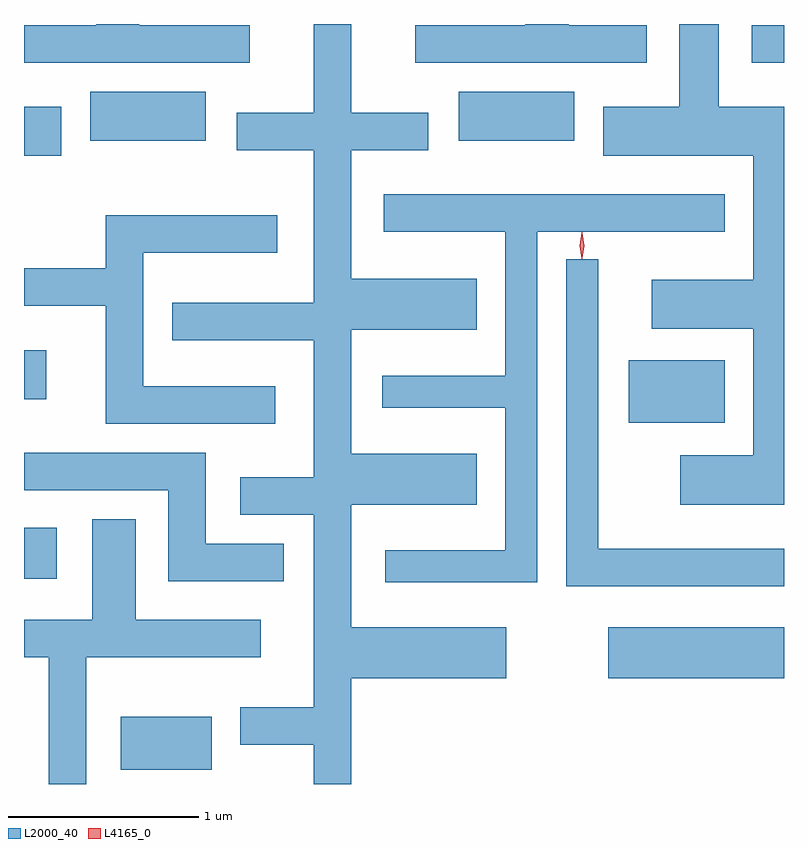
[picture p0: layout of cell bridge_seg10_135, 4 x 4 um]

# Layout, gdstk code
import gdstk
lib = gdstk.Library(unit=1e-6, precision=1e-09)
def R(c, l, rs):  # rectangles x0, y0, x1, y1
    for r in rs: c.add(gdstk.rectangle(r[:2], r[2:], *l))
def P(c, l, *ps):  # polygons
    for p in ps: c.add(gdstk.Polygon(p, *l))
L2000_40 = (2000, 40)
L4165_0 = (4165, 0)

bridge_seg10_135 = lib.new_cell('bridge_seg10_135')
R(bridge_seg10_135, L2000_40, [(1671.016,2139.486,1671.494,2139.764), (1673.581,2139.966,1674.507,2140.234), (1670.507,2140.491,1670.679,2140.759), (1673.691,2141.311,1674.194,2141.639), (1670.507,2141.436,1670.624,2141.694), (1670.507,2142.716,1670.704,2142.974), (1670.856,2142.796,1671.464,2143.054), (1672.796,2142.796,1673.404,2143.054), (1674.336,2143.206,1674.507,2143.404)])
P(bridge_seg10_135, L2000_40, [(1674.507,2142.974),(1674.164,2142.974),(1674.164,2143.41),(1673.956,2143.41),(1673.956,2142.974),(1673.556,2142.974),(1673.556,2142.716),(1674.346,2142.716),(1674.346,2142.064),(1673.811,2142.064),(1673.811,2141.806),(1674.346,2141.806),(1674.346,2141.139),(1673.961,2141.139),(1673.961,2140.881),(1674.507,2140.881)],
  [(1673.784,2143.404),(1673.374,2143.404),(1673.374,2143.41),(1673.146,2143.41),(1673.146,2143.404),(1672.566,2143.404),(1672.566,2143.206),(1673.784,2143.206)],
  [(1671.286,2141.944),(1671.286,2141.746),(1672.031,2141.746),(1672.031,2141.024),(1671.646,2141.024),(1671.646,2140.826),(1672.031,2140.826),(1672.031,2139.814),(1671.646,2139.814),(1671.646,2139.616),(1672.031,2139.616),(1672.031,2139.41),(1672.229,2139.41),(1672.229,2139.966),(1673.044,2139.966),(1673.044,2140.234),(1672.229,2140.234),(1672.229,2140.881),(1672.889,2140.881),(1672.889,2141.149),(1672.229,2141.149),(1672.229,2141.801),(1672.889,2141.801),(1672.889,2142.069),(1672.229,2142.069),(1672.229,2142.746),(1672.634,2142.746),(1672.634,2142.944),(1672.229,2142.944),(1672.229,2143.41),(1672.031,2143.41),(1672.031,2142.944),(1671.626,2142.944),(1671.626,2142.746),(1672.031,2142.746),(1672.031,2141.944)],
  [(1671.694,2143.404),(1671.114,2143.404),(1671.114,2143.41),(1670.886,2143.41),(1670.886,2143.404),(1670.507,2143.404),(1670.507,2143.206),(1671.694,2143.206)],
  [(1673.209,2142.316),(1674.194,2142.316),(1674.194,2142.514),(1672.401,2142.514),(1672.401,2142.316),(1673.041,2142.316),(1673.041,2141.559),(1672.393,2141.559),(1672.393,2141.391),(1673.041,2141.391),(1673.041,2140.639),(1672.408,2140.639),(1672.408,2140.471),(1673.209,2140.471)],
  [(1671.829,2141.504),(1671.134,2141.504),(1671.134,2142.206),(1671.839,2142.206),(1671.839,2142.404),(1670.936,2142.404),(1670.936,2142.124),(1670.507,2142.124),(1670.507,2141.926),(1670.936,2141.926),(1670.936,2141.306),(1671.829,2141.306)],
  [(1674.507,2140.649),(1673.529,2140.649),(1673.529,2142.173),(1673.361,2142.173),(1673.361,2140.451),(1674.507,2140.451)],
  [(1671.874,2140.674),(1671.464,2140.674),(1671.464,2141.154),(1670.507,2141.154),(1670.507,2140.956),(1671.266,2140.956),(1671.266,2140.476),(1671.874,2140.476)],
  [(1670.834,2140.076),(1671.754,2140.076),(1671.754,2140.274),(1671.094,2140.274),(1671.094,2140.804),(1670.866,2140.804),(1670.866,2140.274),(1670.507,2140.274),(1670.507,2140.076),(1670.636,2140.076),(1670.636,2139.41),(1670.834,2139.41)])
P(bridge_seg10_135, L4165_0, [(1673.443,2142.174),(1673.442,2142.175),(1673.433,2142.244),(1673.442,2142.313),(1673.443,2142.314),(1673.444,2142.313),(1673.453,2142.244),(1673.444,2142.175)],
  [(1673.444,2142.178),(1673.435,2142.244),(1673.444,2142.311),(1673.445,2142.311),(1673.445,2142.311),(1673.455,2142.244),(1673.445,2142.178),(1673.445,2142.178)])

lib.write_gds('bridge_seg10_135.gds')
